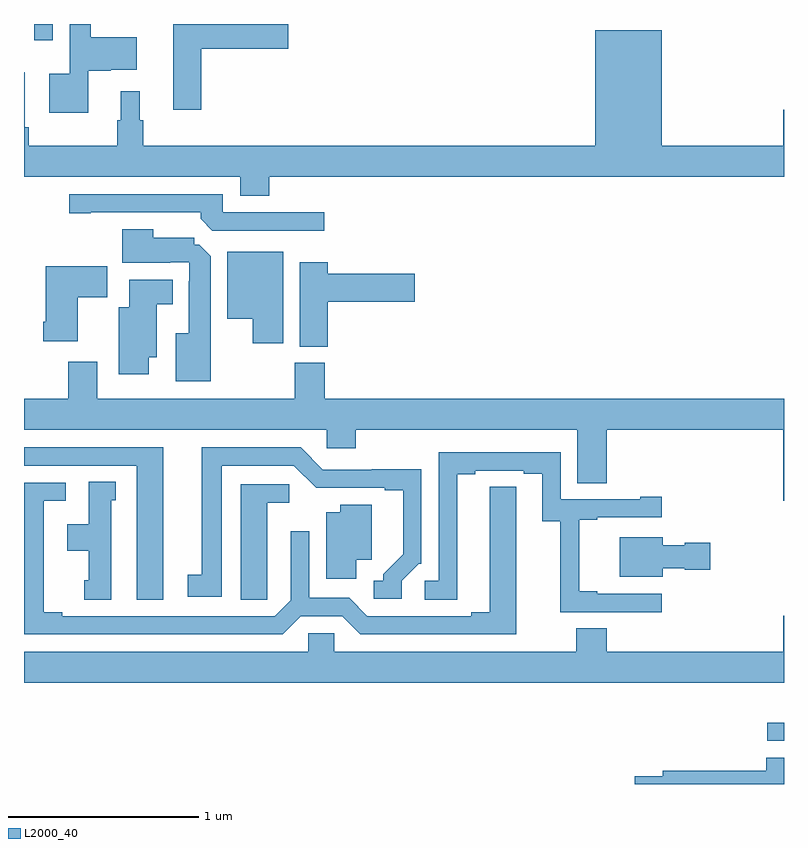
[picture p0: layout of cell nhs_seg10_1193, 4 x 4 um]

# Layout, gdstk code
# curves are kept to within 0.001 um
import gdstk
lib = gdstk.Library(unit=1e-6, precision=1e-09)
def R(c, l, rs):  # rectangles x0, y0, x1, y1
    for r in rs: c.add(gdstk.rectangle(r[:2], r[2:], *l))
def P(c, l, *ps):  # polygons
    for p in ps: c.add(gdstk.Polygon(p, *l))
L2000_40 = (2000, 40)

nhs_seg10_1193 = lib.new_cell('nhs_seg10_1193')
R(nhs_seg10_1193, L2000_40, [(176.913,1250.727,177,1250.823), (173.054,1254.414,173.151,1254.5)])
P(nhs_seg10_1193, L2000_40, [(173.338,1254.253),(173.457,1254.253),(173.457,1254.26),(173.593,1254.26),(173.593,1254.431),(173.35,1254.431),(173.35,1254.5),(173.241,1254.5),(173.241,1254.238),(173.132,1254.238),(173.132,1254.032),(173.338,1254.032)],
  [(173.933,1254.371),(174.391,1254.371),(174.391,1254.5),(173.786,1254.5),(173.786,1254.048),(173.933,1254.048)],
  [(174.29,1253.696),(177,1253.696),(177,1254.049),(176.996,1254.049),(176.996,1253.86),(176.356,1253.86),(176.356,1254.466),(176.006,1254.466),(176.006,1253.86),(173.627,1253.86),(173.627,1253.994),(173.608,1253.994),(173.608,1254.145),(173.51,1254.145),(173.51,1253.994),(173.491,1253.994),(173.491,1253.86),(173.024,1253.86),(173.024,1253.956),(173.004,1253.956),(173.004,1254.247),(173,1254.247),(173,1253.696),(174.137,1253.696),(174.137,1253.597),(174.29,1253.597)],
  [(174.58,1253.508),(174.045,1253.508),(174.045,1253.604),(173.238,1253.604),(173.238,1253.503),(173.35,1253.503),(173.35,1253.508),(173.93,1253.508),(173.93,1253.474),(173.991,1253.412),(174.58,1253.412)],
  [(173.983,1253.277),(173.923,1253.337),(173.895,1253.337),(173.895,1253.374),(173.68,1253.374),(173.68,1253.419),(173.516,1253.419),(173.516,1253.243),(173.771,1253.243),(173.771,1253.247),(173.871,1253.247),(173.871,1253.147),(173.867,1253.147),(173.867,1252.873),(173.798,1252.873),(173.798,1252.619),(173.983,1252.619)],
  [(174.364,1253.302),(174.071,1253.302),(174.071,1252.949),(174.203,1252.949),(174.203,1252.821),(174.364,1252.821)],
  [(174.599,1253.039),(175.057,1253.039),(175.057,1253.186),(174.599,1253.186),(174.599,1253.245),(174.452,1253.245),(174.452,1252.801),(174.599,1252.801)],
  [(173.284,1253.062),(173.437,1253.062),(173.437,1253.224),(173.114,1253.224),(173.114,1252.933),(173.102,1252.933),(173.102,1252.829),(173.284,1252.829)],
  [(173.656,1252.745),(173.698,1252.745),(173.698,1253.024),(173.782,1253.024),(173.782,1253.155),(173.555,1253.155),(173.555,1253.008),(173.498,1253.008),(173.498,1252.656),(173.656,1252.656)],
  [(177,1252.528),(174.584,1252.528),(174.584,1252.716),(174.424,1252.716),(174.424,1252.528),(173.386,1252.528),(173.386,1252.723),(173.234,1252.723),(173.234,1252.528),(173,1252.528),(173,1252.364),(174.594,1252.364),(174.594,1252.266),(174.746,1252.266),(174.746,1252.364),(175.913,1252.364),(175.913,1252.084),(176.066,1252.084),(176.066,1252.364),(176.996,1252.364),(176.996,1251.99),(177,1251.99)],
  [(174.987,1251.57),(175.077,1251.66),(175.092,1251.66),(175.092,1252.157),(174.829,1252.157),(174.829,1252.155),(174.573,1252.155),(174.456,1252.272),(173.936,1252.272),(173.936,1251.602),(173.862,1251.602),(173.862,1251.486),(174.04,1251.486),(174.04,1252.176),(174.42,1252.176),(174.537,1252.059),(174.899,1252.059),(174.899,1252.047),(174.995,1252.047),(174.995,1251.71),(174.89,1251.605),(174.89,1251.57),(174.84,1251.57),(174.84,1251.474),(174.987,1251.474)],
  [(173.734,1252.272),(173,1252.272),(173,1252.176),(173.594,1252.176),(173.594,1251.471),(173.734,1251.471)],
  [(176.356,1251.501),(176.017,1251.501),(176.017,1251.514),(175.922,1251.514),(175.922,1251.891),(176.017,1251.891),(176.017,1251.903),(176.356,1251.903),(176.356,1252.012),(176.243,1252.012),(176.243,1251.999),(175.824,1251.999),(175.824,1252.245),(175.182,1252.245),(175.182,1251.57),(175.11,1251.57),(175.11,1251.469),(175.279,1251.469),(175.279,1252.129),(175.375,1252.129),(175.375,1252.149),(175.631,1252.149),(175.631,1252.134),(175.727,1252.134),(175.727,1251.883),(175.822,1251.883),(175.822,1251.405),(176.356,1251.405)],
  [(173.458,1251.993),(173.482,1251.993),(173.482,1252.091),(173.342,1252.091),(173.342,1251.868),(173.228,1251.868),(173.228,1251.728),(173.342,1251.728),(173.342,1251.573),(173.318,1251.573),(173.318,1251.471),(173.458,1251.471)],
  [(174.457,1251.384),(174.675,1251.384),(174.771,1251.288),(175.591,1251.288),(175.59,1252.064),(175.451,1252.064),(175.451,1251.404),(175.355,1251.404),(175.355,1251.384),(174.807,1251.384),(174.711,1251.48),(174.501,1251.48),(174.501,1251.829),(174.405,1251.829),(174.405,1251.468),(174.321,1251.384),(173.2,1251.384),(173.2,1251.404),(173.104,1251.404),(173.104,1251.99),(173.221,1251.99),(173.221,1252.086),(173,1252.086),(173,1251.288),(174.361,1251.288)],
  [(174.279,1251.577),(174.28,1251.577),(174.28,1251.98),(174.397,1251.98),(174.397,1252.077),(174.14,1252.077),(174.14,1251.469),(174.279,1251.469)],
  [(174.748,1251.68),(174.829,1251.68),(174.829,1251.97),(174.665,1251.97),(174.665,1251.931),(174.59,1251.931),(174.59,1251.579),(174.748,1251.579)],
  [(176.362,1251.635),(176.478,1251.635),(176.478,1251.628),(176.611,1251.628),(176.611,1251.77),(176.478,1251.77),(176.478,1251.757),(176.362,1251.757),(176.362,1251.799),(176.135,1251.799),(176.135,1251.59),(176.362,1251.59)],
  [(177,1251.385),(176.996,1251.385),(176.996,1251.196),(176.066,1251.196),(176.066,1251.32),(175.906,1251.32),(175.906,1251.196),(174.633,1251.196),(174.633,1251.294),(174.495,1251.294),(174.495,1251.196),(173,1251.196),(173,1251.032),(177,1251.032)],
  [(177,1250.638),(176.906,1250.638),(176.906,1250.569),(176.363,1250.569),(176.363,1250.54),(176.214,1250.54),(176.214,1250.5),(177,1250.5)])

lib.write_gds('nhs_seg10_1193.gds')
